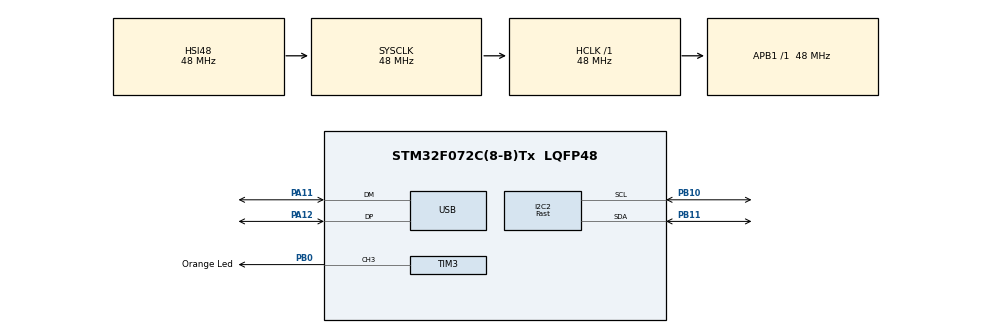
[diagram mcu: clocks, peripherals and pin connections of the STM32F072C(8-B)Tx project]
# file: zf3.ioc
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FATFS._FS_MINIMIZE=3
FATFS._FS_TINY=1
FATFS._MAX_SS=512
FATFS._MIN_SS=512
FATFS._USE_FASTSEEK=1
FATFS._USE_LFN=0
FATFS._USE_MKFS=0
FATFS._USE_STRFUNC=0
I2C2.I2C_Speed_Mode=I2C_Fast
I2C2.Speed=400
I2C2.Timing=0x2010091A
Mcu.Family=STM32F0
Mcu.Name=STM32F072C(8-B)Tx
Mcu.Package=LQFP48
Mcu.UserConstants=DISK_MEM_BASE,0x8007000
NVIC.USB_IRQn=true\:0\:0\:false
PA11.Mode=Device
PA11.Signal=USB_DM
PA12.Mode=Device
PA12.Signal=USB_DP
PA13.Mode=Serial-WireDebug
PA13.Signal=SYS_SWDIO
PA14.Mode=Serial-WireDebug
PA14.Signal=SYS_SWCLK
PB0.GPIO_Label=Orange Led
PB0.GPIO_ModeDefaultPP=GPIO_MODE_AF_PP
PB0.GPIO_PuPd=GPIO_NOPULL
PB0.GPIO_Speed=GPIO_SPEED_LOW
PB0.Signal=S_TIM3_CH3
PB10.GPIO_Mode=GPIO_MODE_AF_OD
PB10.GPIO_PuPdOD=GPIO_NOPULL
PB10.GPIO_Speed=GPIO_SPEED_HIGH
PB10.Mode=I2C
PB10.Signal=I2C2_SCL
PB11.GPIO_Mode=GPIO_MODE_AF_OD
PB11.GPIO_PuPdOD=GPIO_NOPULL
PB11.GPIO_Speed=GPIO_SPEED_HIGH
PB11.Mode=I2C
PB11.Signal=I2C2_SDA
ProjectManager.TargetToolchain=MDK-ARM V5
RCC.AHBFreq_Value=48000000
RCC.APB1Freq_Value=48000000
RCC.APB1TimFreq_Value=48000000
RCC.DATA_CACHE_ENABLE=0
RCC.HCLKFreq_Value=48000000
RCC.INSTRUCTION_CACHE_ENABLE=0
RCC.SYSCLKFreq_VALUE=48000000
RCC.SYSCLKSource=RCC_SYSCLKSOURCE_HSI48
SH.S_TIM3_CH3.0=TIM3_CH3,PWM Generation3 CH3
TIM3.Channel-PWM\ Generation3\ CH3=TIM_CHANNEL_3
TIM3.Period=700
TIM3.Prescaler=48000
TIM3.Pulse-PWM\ Generation3\ CH3=300
USB_DEVICE.MANUFACTURER_STRING=Elmot
USB_DEVICE.PRODUCT_STRING_MSC_FS=ZeroFat32
USB_DEVICE.USBD_HandleTypeDef=hUsbDeviceFS
USB_DEVICE.USBD_SUPPORT_USER_STRING=0
USB_DEVICE.VirtualMode=Msc
USB_DEVICE.VirtualModeFS=Msc_FS
VP_FATFS_VS_Generic.Mode=User_defined
VP_USB_DEVICE_VS_USB_DEVICE_MSC_FS.Mode=MSC_FS
board=zf3

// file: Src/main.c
/**
  ******************************************************************************
  * File Name          : main.c
  * Description        : Main program body
  ******************************************************************************
  *
  * COPYRIGHT(c) 2015 STMicroelectronics
  *
  * Redistribution and use in source and binary forms, with or without modification,
  * are permitted provided that the following conditions are met:
  *   1. Redistributions of source code must retain the above copyright notice,
  *      this list of conditions and the following disclaimer.
  *   2. Redistributions in binary form must reproduce the above copyright notice,
  *      this list of conditions and the following disclaimer in the documentation
  *      and/or other materials provided with the distribution.
  *   3. Neither the name of STMicroelectronics nor the names of its contributors
  *      may be used to endorse or promote products derived from this software
  *      without specific prior written permission.
  *
  * THIS SOFTWARE IS PROVIDED BY THE COPYRIGHT HOLDERS AND CONTRIBUTORS "AS IS"
  * AND ANY EXPRESS OR IMPLIED WARRANTIES, INCLUDING, BUT NOT LIMITED TO, THE
  * IMPLIED WARRANTIES OF MERCHANTABILITY AND FITNESS FOR A PARTICULAR PURPOSE ARE
  * DISCLAIMED. IN NO EVENT SHALL THE COPYRIGHT HOLDER OR CONTRIBUTORS BE LIABLE
  * FOR ANY DIRECT, INDIRECT, INCIDENTAL, SPECIAL, EXEMPLARY, OR CONSEQUENTIAL
  * DAMAGES (INCLUDING, BUT NOT LIMITED TO, PROCUREMENT OF SUBSTITUTE GOODS OR
  * SERVICES; LOSS OF USE, DATA, OR PROFITS; OR BUSINESS INTERRUPTION) HOWEVER
  * CAUSED AND ON ANY THEORY OF LIABILITY, WHETHER IN CONTRACT, STRICT LIABILITY,
  * OR TORT (INCLUDING NEGLIGENCE OR OTHERWISE) ARISING IN ANY WAY OUT OF THE USE
  * OF THIS SOFTWARE, EVEN IF ADVISED OF THE POSSIBILITY OF SUCH DAMAGE.
  *
  ******************************************************************************
  */
#include "stm32f0xx_hal.h"
#include "fatfs.h"
#include "usb_device.h"

/* USER CODE BEGIN Includes */
#include "oled.h"
#include "stdbool.h"
/* USER CODE END Includes */

I2C_HandleTypeDef hi2c2;

TIM_HandleTypeDef htim3;

/* USER CODE BEGIN PV */
/* Private variables ---------------------------------------------------------*/

/* USER CODE END PV */

void SystemClock_Config(void);
static void MX_GPIO_Init(void);
static void MX_I2C2_Init(void);
static void MX_TIM3_Init(void);

/* USER CODE BEGIN PFP */
/* Private function prototypes -----------------------------------------------*/

/* USER CODE END PFP */

/* USER CODE BEGIN 0 */

volatile uint32_t lastFsCheck = 0;

static FATFS inetrnalFat;

static int8_t screenDelayCount = 0;
static bool showFilePicture(void)
{
	FIL file;
	UINT readBytes = STORAGE_BLK_SIZ;
	int readPtr = STORAGE_BLK_SIZ;
	static unsigned char readBuffer[STORAGE_BLK_SIZ];
	static unsigned char screenBuffer[8*0x81];
	static char fileName[] = "screen1.txt";

	if(--screenDelayCount < 0) {
		screenDelayCount = 10;
		fileName[6]++;
		FRESULT res = f_open(&file,fileName,FA_OPEN_EXISTING);
		switch(res) {
			case FR_OK: f_close(&file); break;
			default: fileName[6] = '1'; break;
		}
	}
	FRESULT res = f_open(&file,fileName,FA_READ);
	if(res != FR_OK) return false;

	for(int i = 0; i < 8*0x81;i++)
		screenBuffer[i]=0;
	for(int i = 0; i < 8*0x81;i+=0x81)
		screenBuffer[i]=0x40;

	for(int y = 0; y < 64; y++) {
		uint8_t bitMask = 1<<(y & 7);
		uint32_t buffOffset = 1 + 0x81*(y/8);
		for(int x = 0; x < 0x80;)
		{
			if(readPtr>=readBytes) {
				if(readBytes < 512) {
					y = 100;
					f_close(&file);
					break;
				}
				if(f_read(&file,readBuffer,512,&readBytes)!=FR_OK) readBytes = 0;
				if(readBytes == 0) {
					y = 100;
					break;
				}
				readPtr = 0;
			}
			char c = readBuffer[readPtr++];
			char v;
			switch(c) {
				case  32: v = 0; break;
				case '.': v = 0; break;
				case  13: v =0xff; break;
				case  10: v =0xff; x=200; break;
				default : v = 1;
			}
			switch(v) {
				case 0:
					x++;break;
				case 1:
					screenBuffer[x + buffOffset] |= bitMask; x++;break;
			}
		}
	}
	OLED_Display_Picture(screenBuffer);
	return true;
}
/* USER CODE END 0 */

int main(void)
{

  /* MCU Configuration----------------------------------------------------------*/

  /* Reset of all peripherals, Initializes the Flash interface and the Systick. */
  HAL_Init();

  /* Configure the system clock */
  SystemClock_Config();

  /* Initialize all configured peripherals */
  MX_GPIO_Init();
  MX_I2C2_Init();
  MX_TIM3_Init();
  MX_FATFS_Init();
  MX_USB_DEVICE_Init();

  /* USER CODE BEGIN 2 */
	HAL_TIM_Base_Start(&htim3);
	HAL_TIM_OC_Start(&htim3, TIM_CHANNEL_3);
	f_mount(&inetrnalFat,"",1);

  OLED_Initial();
	OLED_Display_Picture(VAADIN_PICTURE);
  /* USER CODE END 2 */

  /* Infinite loop */
  while (1)
  {

  /* USER CODE BEGIN 3 */
		if(HAL_GetTick() - lastFsCheck > 30)
		{
			lastFsCheck = HAL_GetTick();
			FIL file;
			UINT readBytes;
			char buff[5];

			uint16_t ledOnTime = 600;

			FRESULT res = f_open(&file,"led.txt",FA_READ);
			if(res == FR_OK)
			{
				buff[0] = 0;
				res = f_read(&file,buff,5,&readBytes);
				if(res == FR_OK) {
						if(!strncmp("ON",(char*)buff,2)) ledOnTime = 1000; else
							if(!strncmp("OFF",(char*)buff,3)) ledOnTime = 0; else
								if(!strncmp("BLINK",(char*)buff,5)) ledOnTime = 300;
				}
				f_close(&file);
			}
			TIM3->CCR3 = ledOnTime;
			if(!showFilePicture())
				OLED_Display_Picture(VAADIN_PICTURE);

		}

  }
  /* USER CODE END 3 */

}

/** System Clock Configuration
*/
void SystemClock_Config(void)
{

  RCC_OscInitTypeDef RCC_OscInitStruct;
  RCC_ClkInitTypeDef RCC_ClkInitStruct;
  RCC_PeriphCLKInitTypeDef PeriphClkInit;

  RCC_OscInitStruct.OscillatorType = RCC_OSCILLATORTYPE_HSI48;
  RCC_OscInitStruct.HSI48State = RCC_HSI48_ON;
  RCC_OscInitStruct.PLL.PLLState = RCC_PLL_NONE;
  HAL_RCC_OscConfig(&RCC_OscInitStruct);

  RCC_ClkInitStruct.ClockType = RCC_CLOCKTYPE_SYSCLK;
  RCC_ClkInitStruct.SYSCLKSource = RCC_SYSCLKSOURCE_HSI48;
  RCC_ClkInitStruct.AHBCLKDivider = RCC_SYSCLK_DIV1;
  RCC_ClkInitStruct.APB1CLKDivider = RCC_HCLK_DIV1;
  HAL_RCC_ClockConfig(&RCC_ClkInitStruct, FLASH_LATENCY_1);

  PeriphClkInit.PeriphClockSelection = RCC_PERIPHCLK_USB;
  PeriphClkInit.UsbClockSelection = RCC_USBCLKSOURCE_HSI48;
  HAL_RCCEx_PeriphCLKConfig(&PeriphClkInit);

  HAL_SYSTICK_Config(HAL_RCC_GetHCLKFreq()/1000);

  HAL_SYSTICK_CLKSourceConfig(SYSTICK_CLKSOURCE_HCLK);

}

/* I2C2 init function */
void MX_I2C2_Init(void)
{

  hi2c2.Instance = I2C2;
  hi2c2.Init.Timing = 0x2010091A;
  hi2c2.Init.OwnAddress1 = 0;
  hi2c2.Init.AddressingMode = I2C_ADDRESSINGMODE_7BIT;
  hi2c2.Init.DualAddressMode = I2C_DUALADDRESS_DISABLED;
  hi2c2.Init.OwnAddress2 = 0;
  hi2c2.Init.OwnAddress2Masks = I2C_OA2_NOMASK;
  hi2c2.Init.GeneralCallMode = I2C_GENERALCALL_DISABLED;
  hi2c2.Init.NoStretchMode = I2C_NOSTRETCH_DISABLED;
  HAL_I2C_Init(&hi2c2);

    /**Configure Analogue filter
    */
  HAL_I2CEx_AnalogFilter_Config(&hi2c2, I2C_ANALOGFILTER_ENABLED);

}

/* TIM3 init function */
void MX_TIM3_Init(void)
{

  TIM_MasterConfigTypeDef sMasterConfig;
  TIM_OC_InitTypeDef sConfigOC;

  htim3.Instance = TIM3;
  htim3.Init.Prescaler = 48000;
  htim3.Init.CounterMode = TIM_COUNTERMODE_UP;
  htim3.Init.Period = 700;
  htim3.Init.ClockDivision = TIM_CLOCKDIVISION_DIV1;
  HAL_TIM_PWM_Init(&htim3);

  sMasterConfig.MasterOutputTrigger = TIM_TRGO_RESET;
  sMasterConfig.MasterSlaveMode = TIM_MASTERSLAVEMODE_DISABLE;
  HAL_TIMEx_MasterConfigSynchronization(&htim3, &sMasterConfig);

  sConfigOC.OCMode = TIM_OCMODE_PWM1;
  sConfigOC.Pulse = 300;
  sConfigOC.OCPolarity = TIM_OCPOLARITY_HIGH;
  sConfigOC.OCFastMode = TIM_OCFAST_DISABLE;
  HAL_TIM_PWM_ConfigChannel(&htim3, &sConfigOC, TIM_CHANNEL_3);

}

/** Configure pins as
        * Analog
        * Input
        * Output
        * EVENT_OUT
        * EXTI
*/
void MX_GPIO_Init(void)
{

  /* GPIO Ports Clock Enable */
  __GPIOB_CLK_ENABLE();
  __GPIOA_CLK_ENABLE();

}

/************************ (C) COPYRIGHT STMicroelectronics *****END OF FILE****/
